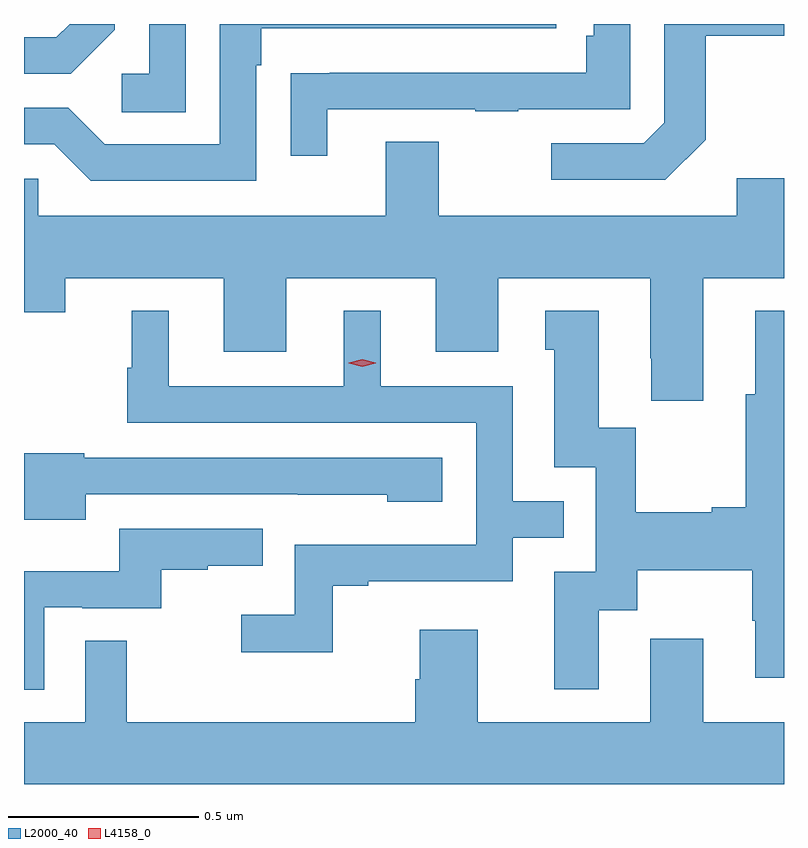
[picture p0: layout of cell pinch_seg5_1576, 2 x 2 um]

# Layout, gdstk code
import gdstk
lib = gdstk.Library(unit=1e-6, precision=1e-09)
def P(c, l, *ps):  # polygons
    for p in ps: c.add(gdstk.Polygon(p, *l))
L2000_40 = (2000, 40)
L4158_0 = (4158, 0)

pinch_seg5_1576 = lib.new_cell('pinch_seg5_1576')
P(pinch_seg5_1576, L2000_40, [(277.698,842.762),(277.698,842.777),(277.579,842.777),(277.544,842.742),(277.459,842.742),(277.459,842.646),(277.582,842.646)],
  [(279.253,842.473),(279.253,842.746),(279.459,842.746),(279.459,842.777),(279.144,842.777),(279.144,842.517),(279.09,842.463),(278.847,842.463),(278.847,842.367),(279.147,842.367)],
  [(278.257,842.553),(278.647,842.553),(278.647,842.548),(278.759,842.548),(278.759,842.553),(279.054,842.553),(279.054,842.777),(278.958,842.777),(278.958,842.746),(278.938,842.746),(278.938,842.649),(278.263,842.649),(278.263,842.648),(278.161,842.648),(278.161,842.43),(278.257,842.43)],
  [(277.884,842.777),(277.788,842.777),(277.788,842.646),(277.716,842.646),(277.716,842.545),(277.884,842.545)],
  [(278.07,842.669),(278.083,842.669),(278.083,842.766),(278.86,842.766),(278.86,842.777),(277.974,842.777),(277.974,842.46),(277.671,842.46),(277.575,842.556),(277.459,842.556),(277.459,842.46),(277.539,842.46),(277.635,842.364),(278.07,842.364)],
  [(279.247,842.108),(279.459,842.108),(279.459,842.371),(279.335,842.371),(279.335,842.272),(278.551,842.272),(278.551,842.467),(278.411,842.467),(278.411,842.272),(277.497,842.272),(277.497,842.37),(277.459,842.37),(277.459,842.018),(277.567,842.018),(277.567,842.108),(277.985,842.108),(277.985,841.914),(278.149,841.914),(278.149,842.108),(278.543,842.108),(278.543,841.914),(278.707,841.914),(278.707,842.108),(279.107,842.108),(279.107,841.897),(279.11,841.897),(279.11,841.785),(279.247,841.785)],
  [(278.271,841.299),(278.365,841.299),(278.365,841.311),(278.745,841.311),(278.745,841.425),(278.879,841.425),(278.879,841.521),(278.745,841.521),(278.745,841.824),(278.398,841.824),(278.398,842.023),(278.3,842.023),(278.3,841.824),(277.84,841.824),(277.84,842.023),(277.742,842.023),(277.742,841.872),(277.731,841.872),(277.731,841.728),(278.649,841.728),(278.649,841.407),(278.172,841.407),(278.172,841.222),(278.031,841.222),(278.031,841.124),(278.271,841.124)],
  [(278.971,841.234),(279.073,841.234),(279.073,841.34),(279.376,841.34),(279.376,841.206),(279.383,841.206),(279.383,841.056),(279.459,841.056),(279.459,842.023),(279.383,842.023),(279.383,841.803),(279.358,841.803),(279.358,841.505),(279.269,841.505),(279.269,841.492),(279.069,841.492),(279.069,841.715),(278.971,841.715),(278.971,842.023),(278.831,842.023),(278.831,841.92),(278.855,841.92),(278.855,841.611),(278.964,841.611),(278.964,841.335),(278.855,841.335),(278.855,841.026),(278.971,841.026)],
  [(277.621,841.539),(278.179,841.539),(278.179,841.538),(278.415,841.538),(278.415,841.52),(278.56,841.52),(278.56,841.635),(277.617,841.635),(277.617,841.648),(277.459,841.648),(277.459,841.472),(277.621,841.472)],
  [(277.512,841.242),(277.612,841.242),(277.612,841.239),(277.82,841.239),(277.82,841.341),(277.943,841.341),(277.943,841.352),(278.087,841.352),(278.087,841.449),(277.71,841.449),(277.71,841.337),(277.459,841.337),(277.459,841.025),(277.512,841.025)],
  [(279.459,840.94),(279.247,840.94),(279.247,841.159),(279.107,841.159),(279.107,840.94),(278.653,840.94),(278.653,841.183),(278.501,841.183),(278.501,841.053),(278.489,841.053),(278.489,840.94),(277.729,840.94),(277.729,841.154),(277.62,841.154),(277.62,840.94),(277.459,840.94),(277.459,840.777),(279.459,840.777)])
P(pinch_seg5_1576, L4158_0, [(278.349,841.875),(278.313,841.884),(278.313,841.885),(278.313,841.885),(278.349,841.895),(278.385,841.885),(278.385,841.885),(278.385,841.884)])

lib.write_gds('pinch_seg5_1576.gds')
